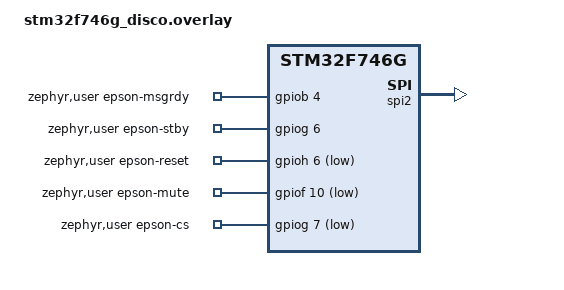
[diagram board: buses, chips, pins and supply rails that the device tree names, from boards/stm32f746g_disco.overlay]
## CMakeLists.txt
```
# SPDX-License-Identifier: Apache-2.0

cmake_minimum_required(VERSION 3.20.0)

find_package(Zephyr REQUIRED HINTS $ENV{ZEPHYR_BASE})
project(rutronik_app_s1v3g340)

# 1. Define where the driver code lives
set(DRIVER_DIR "../drivers/audio/RutEpsonDriver/s1v3g340/src")

# 2. Add ALL sources to the 'app' target directly
target_sources(app PRIVATE 
    src/main.c
    ${DRIVER_DIR}/spi_api.c 
    ${DRIVER_DIR}/isc_msgs.c
)

# 3. Add Include Paths so main.c can find "spi_api.h"
target_include_directories(app PRIVATE 
    src 
    ${DRIVER_DIR}
)
```

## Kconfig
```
# Private config options for charger sample app

# Copyright (c) 2024 Cirrus Logic, Inc.
# SPDX-License-Identifier: Apache-2.0

mainmenu "Audio application"

source "Kconfig.zephyr"

# Define the symbol here locally so prj.conf is happy
config EPSON_S1V3G340
    bool "Epson Driver Switch"
    default y
    help
      This switch allows the code in spi_api.c to compile.
```

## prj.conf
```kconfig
# Enable Standard Peripherals
CONFIG_GPIO=y
CONFIG_SPI=y
CONFIG_LOG=y
CONFIG_LOG_DEFAULT_LEVEL=3
#Defined in  Kconfig to activate the driver
CONFIG_EPSON_S1V3G340=y
# Increase main stack from default (usually 1024) to 4096 bytes 
CONFIG_MAIN_STACK_SIZE=4096
```

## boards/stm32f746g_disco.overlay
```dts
/* boards/stm32f746g_disco.overlay */

/ {
    zephyr,user {
        epson-msgrdy-gpios = <&gpiob 4 (GPIO_ACTIVE_HIGH | GPIO_PULL_DOWN)>; /* D3 */
        epson-stby-gpios   = <&gpiog 6 GPIO_ACTIVE_HIGH>; /* D1 */
        epson-reset-gpios  = <&gpioh 6 GPIO_ACTIVE_LOW>;  /* D6 */
        epson-mute-gpios   = <&gpiof 10 GPIO_ACTIVE_LOW>; /* A1 */
        
        /* MOVED HERE: We define CS as a GPIO so we can control it manually in C config */
        epson-cs-gpios     = <&gpiog 7 GPIO_ACTIVE_LOW>;  /* D4 */
    };
};

/* Disable conflicting peripherals */
&fmc { status = "disabled"; };
&ltdc { status = "disabled"; };
&timers3 { status = "disabled"; };


/* Enable SPI2 directly */
&spi2 {
    status = "okay";
    pinctrl-names = "default";
	/*cs-gpios = <&gpioa 8 (GPIO_ACTIVE_LOW | GPIO_PULL_UP)>;*/
	status = "okay";
    /* We don't need to set pinctrl here, the board default already maps it to D11/D12/D13 */
};
```

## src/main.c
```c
/*
 * Simple Zephyr main for Epson S1V3G340 TTS
 * - Initializes the Epson chip
 * - Configures audio
 * - Plays one pre-registered phrase (song)
 */

#include <zephyr/kernel.h>
#include <zephyr/sys/printk.h>

/* --- Include Epson driver API (using your absolute paths) --- */
#include "C:\Users\sharo\zephyrproject\zephyr\samples\drivers\audio\RutEpsonDriver\s1v3g340\spi_api.h"
#include "C:\Users\sharo\zephyrproject\zephyr\samples\drivers\audio\RutEpsonDriver\s1v3g340\isc_msgs.h"

/* Index of the phrase/song stored in the Epson flash */
#define SONG_PHRASE_INDEX    2

int main(void)
{
    int result;
    int phrase = SONG_PHRASE_INDEX;

    printk("=== Epson S1V3G340 TTS Demo (Zephyr) ===\n");

    /* 1. Initialize SPI + GPIO for the Epson board */
    printk("[1] EPSON_Initialize...\n");
    result = EPSON_Initialize();
    if (result != 0) {
        printk("ERROR: EPSON_Initialize failed: %d\n", result);
        return 0;
    }
    printk("EPSON_Initialize OK.\n");

    /* 2. Hardware reset sequence (same as original main.c) */
    printk("[2] Hardware reset sequence...\n");
    GPIO_S1V30340_Reset(1);
    k_msleep(100);
    GPIO_S1V30340_Reset(0);
    k_msleep(100);
    GPIO_S1V30340_Reset(1);
    k_msleep(500);

    /* 3. Mute / standby signals like the original code */
    printk("[3] Configure MUTE and STBY...\n");
    GPIO_ControlMute(0);      /* MUTE = ON (silence) */
    GPIO_ControlStandby(0);   /* exit standby */
    k_msleep(100);

    /* 4. Send ISC init sequence: reset / test / version / audio config */
    printk("[4] S1V30340_Initialize_Audio_Config...\n");
    result = S1V30340_Initialize_Audio_Config();
    while (result != 0) {
        printk("S1V30340_Initialize_Audio_Config failed: %d, retrying...\n", result);
        k_msleep(1000);
        result = S1V30340_Initialize_Audio_Config();
    }
    printk("Audio configuration OK.\n");

    /* 5. Play one pre-registered phrase (“song”) */
    printk("[5] Playing phrase index %d...\n", phrase);
    GPIO_ControlMute(1);  /* MUTE OFF => audio enabled */

    S1V30340_Play_Specific_Audio((unsigned char)phrase);
    S1V30340_Wait_For_Termination();

    GPIO_ControlMute(0);  /* MUTE ON => silence again */
    printk("Playback finished.\n");

    /* 6. Idle forever */
    while (1) {
        k_msleep(1000);
    }

    return 0;
}
```
